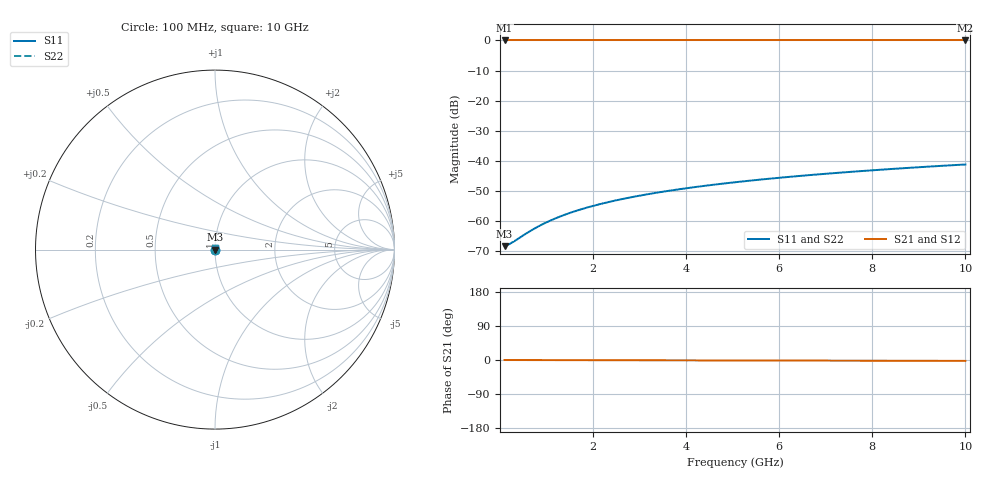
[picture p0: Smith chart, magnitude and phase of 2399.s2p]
# Hz S RI R 50.00
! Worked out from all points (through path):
!   100 points, 100 MHz to 10 GHz, reference 50 ohm
!   highest |S21| = 0.00 dB at 100 MHz (marker M1); lowest = 0.0 dB at 10 GHz (marker M2)
!   lowest |S11| = -68.4 dB at 100 MHz (marker M3), VSWR 1.00, Z = 50 + j0.00864 ohm
!   |S11| at or under -10 dB: start of sweep to end of sweep
!   |S22| runs from -68.4 to -41.2 dB; largest |S21 - S12| = 0
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1e8  0.000369 8.64e-05  0.9996 -0.000408  0.9996 -0.000408  0.000369 8.64e-05
2e8  0.000372 0.000173  0.9996 -0.000817  0.9996 -0.000817  0.000372 0.000173
3e8  0.000374 0.000259  0.9996 -0.00123  0.9996 -0.00123  0.000374 0.000259
6e8  0.000378 0.000518  0.9996 -0.00245  0.9996 -0.00245  0.000378 0.000518
7e8  0.000379 0.000604  0.9996 -0.00286  0.9996 -0.00286  0.000379 0.000604
8e8  0.000381 0.000691  0.9996 -0.00327  0.9996 -0.00327  0.000381 0.000691
1e9  0.000383 0.000863  0.9996 -0.00408  0.9996 -0.00408  0.000383 0.000863
1.2e9  0.000386 0.00104  0.9996 -0.0049  0.9996 -0.0049  0.000386 0.00104
1.4e9  0.000389 0.00121  0.9996 -0.00572  0.9996 -0.00572  0.000389 0.00121
1.6e9  0.000392 0.00138  0.9996 -0.00654  0.9996 -0.00654  0.000392 0.00138
1.8e9  0.000395 0.00155  0.9996 -0.00735  0.9996 -0.00735  0.000395 0.00155
2.1e9  0.000401 0.00181  0.9996 -0.00858  0.9996 -0.00858  0.000401 0.00181
2.5e9  0.000409 0.00216  0.9996 -0.0102  0.9996 -0.0102  0.000409 0.00216
2.9e9  0.000418 0.0025  0.9995 -0.0118  0.9995 -0.0118  0.000418 0.0025
3.4e9  0.00043 0.00293  0.9995 -0.0139  0.9995 -0.0139  0.00043 0.00293
4.2e9  0.000454 0.00362  0.9994 -0.0172  0.9994 -0.0172  0.000454 0.00362
5.1e9  0.000486 0.0044  0.9994 -0.0209  0.9994 -0.0209  0.000486 0.0044
5.9e9  0.000519 0.00509  0.9993 -0.0241  0.9993 -0.0241  0.000519 0.00509
6.7e9  0.000556 0.00578  0.9992 -0.0274  0.9992 -0.0274  0.000556 0.00578
7.5e9  0.000599 0.00647  0.9991 -0.0307  0.9991 -0.0307  0.000599 0.00647
8.4e9  0.000651 0.00725  0.999 -0.0344  0.999 -0.0344  0.000651 0.00725
1e10  0.00076 0.00863  0.9987 -0.041  0.9987 -0.041  0.00076 0.00863
